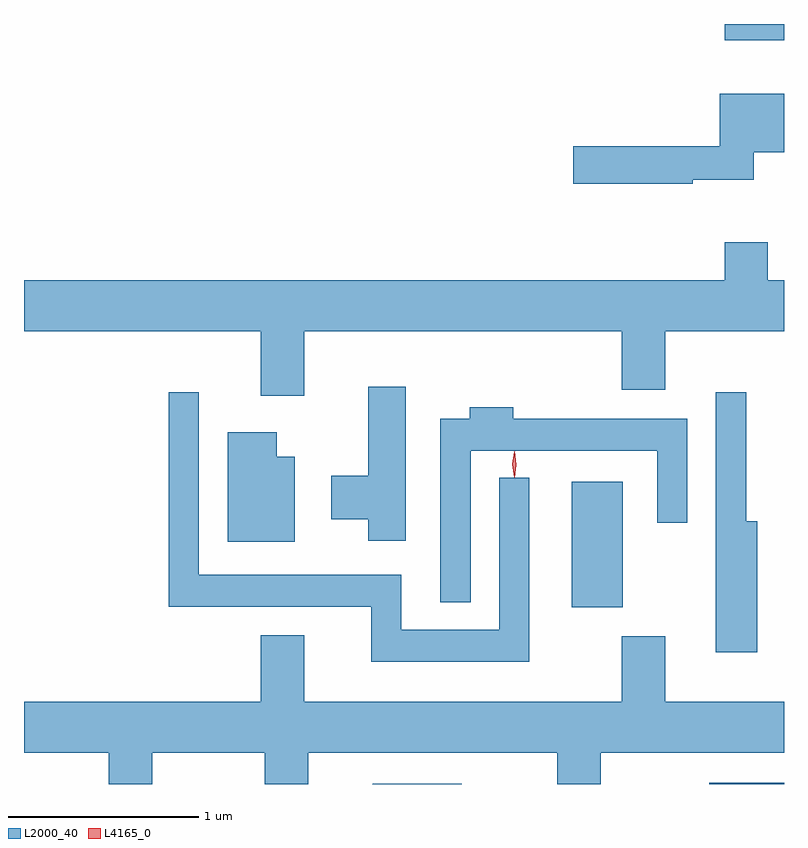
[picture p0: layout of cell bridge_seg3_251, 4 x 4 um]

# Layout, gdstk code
import gdstk
lib = gdstk.Library(unit=1e-6, precision=1e-09)
def R(c, l, rs):  # rectangles x0, y0, x1, y1
    for r in rs: c.add(gdstk.rectangle(r[:2], r[2:], *l))
def P(c, l, *ps):  # polygons
    for p in ps: c.add(gdstk.Polygon(p, *l))
L2000_40 = (2000, 40)
L4165_0 = (4165, 0)

bridge_seg3_251 = lib.new_cell('bridge_seg3_251')
R(bridge_seg3_251, L2000_40, [(928.971,1141.392,929.364,1141.399), (928.246,1142.321,928.514,1142.984), (929.051,1145.306,929.364,1145.392)])
P(bridge_seg3_251, L2000_40, [(928.884,1144.571),(929.204,1144.571),(929.204,1144.716),(929.364,1144.716),(929.364,1145.024),(929.026,1145.024),(929.026,1144.749),(928.256,1144.749),(928.256,1144.551),(928.884,1144.551)],
  [(926.839,1143.776),(928.511,1143.776),(928.511,1143.466),(928.739,1143.466),(928.739,1143.776),(929.364,1143.776),(929.364,1144.044),(929.279,1144.044),(929.279,1144.244),(929.051,1144.244),(929.051,1144.044),(925.364,1144.044),(925.364,1143.776),(926.611,1143.776),(926.611,1143.436),(926.839,1143.436)],
  [(927.374,1143.484),(927.176,1143.484),(927.176,1143.014),(926.981,1143.014),(926.981,1142.786),(927.176,1142.786),(927.176,1142.671),(927.374,1142.671)],
  [(928.024,1143.003),(927.866,1143.003),(927.866,1142.204),(927.349,1142.204),(927.349,1142.494),(926.284,1142.494),(926.284,1143.453),(926.126,1143.453),(926.126,1142.326),(927.191,1142.326),(927.191,1142.036),(928.024,1142.036)],
  [(929.224,1142.774),(929.164,1142.774),(929.164,1143.453),(929.006,1143.453),(929.006,1142.086),(929.224,1142.086)],
  [(927.714,1143.146),(928.696,1143.146),(928.696,1142.768),(928.854,1142.768),(928.854,1143.314),(927.939,1143.314),(927.939,1143.374),(927.711,1143.374),(927.711,1143.314),(927.556,1143.314),(927.556,1142.348),(927.714,1142.348)],
  [(926.789,1143.114),(926.694,1143.114),(926.694,1143.244),(926.436,1143.244),(926.436,1142.666),(926.789,1142.666)],
  [(926.039,1141.556),(926.631,1141.556),(926.631,1141.392),(926.859,1141.392),(926.859,1141.556),(928.171,1141.556),(928.171,1141.392),(928.399,1141.392),(928.399,1141.556),(929.364,1141.556),(929.364,1141.824),(928.739,1141.824),(928.739,1142.169),(928.511,1142.169),(928.511,1141.824),(926.839,1141.824),(926.839,1142.174),(926.611,1142.174),(926.611,1141.824),(925.364,1141.824),(925.364,1141.556),(925.811,1141.556),(925.811,1141.392),(926.039,1141.392)],
  [(927.668,1141.394),(927.199,1141.394),(927.197,1141.392),(927.668,1141.392)])
P(bridge_seg3_251, L4165_0, [(927.943,1143.007),(927.933,1143.074),(927.943,1143.14),(927.943,1143.14),(927.944,1143.14),(927.953,1143.074),(927.944,1143.007),(927.944,1143.007)],
  [(927.946,1143.004),(927.946,1143.004),(927.936,1143.073),(927.946,1143.143),(927.946,1143.143),(927.947,1143.143),(927.956,1143.073),(927.947,1143.004)])

lib.write_gds('bridge_seg3_251.gds')
